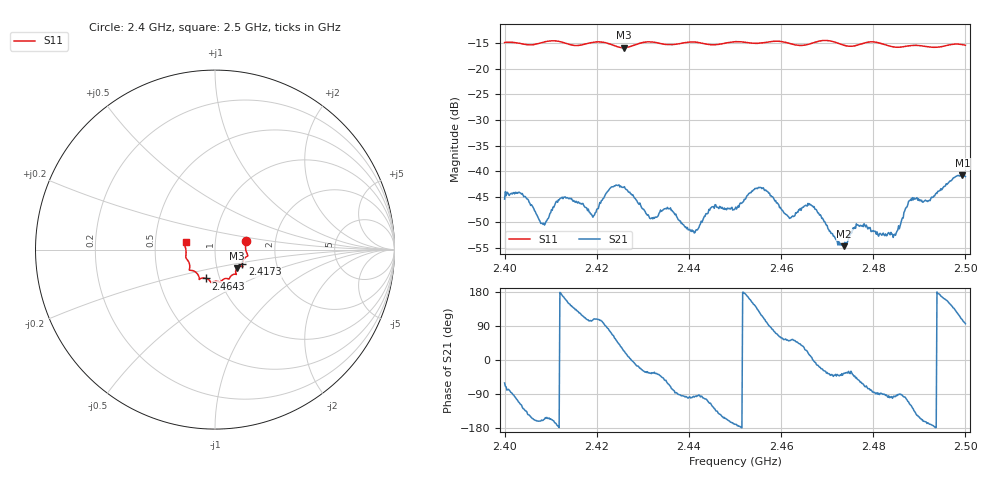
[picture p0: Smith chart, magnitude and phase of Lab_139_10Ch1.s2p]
# Hz S RI R 50
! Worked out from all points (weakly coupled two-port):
!   601 points, 2.4 GHz to 2.5 GHz, reference 50 ohm
!   highest |S21| = -40.77 dB at 2.4993 GHz (marker M1); lowest = -54.6 dB at 2.4737 GHz (marker M2)
!   lowest |S11| = -15.9 dB at 2.4258 GHz (marker M3), VSWR 1.38, Z = 62.3 - j13.2 ohm
!   |S11| at or under -10 dB: start of sweep to end of sweep
!   S12 and S22 are empty: the file has one direction only
!   S11 on the Smith chart (normalised r, x): 2.4 GHz: 1.41, +0.14; 2.4173 GHz: 1.34, -0.23; 2.4643 GHz: 0.86, -0.28; 2.5 GHz: 0.72, +0.06
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2.4e9  0.1728 0.0497  0.00262 -0.00466  0 0  0 0
2.4035e9  0.1729 0.0305  -0.00282 -0.00542  0 0  0 0
2.408333e9  0.1795 -0.0233  -0.00284 -0.00107  0 0  0 0
2.412167e9  0.1791 -0.0375  -0.00545 0.000307  0 0  0 0
2.416667e9  0.1529 -0.0745  -0.00231 0.00418  0 0  0 0
2.417333e9  0.1522 -0.0818  -0.00167 0.00419  0 0  0 0
2.419333e9  0.1536 -0.0959  -0.00113 0.0035  0 0  0 0
2.425833e9  0.1218 -0.1035  0.00633 0.00285  0 0  0 0
2.433333e9  0.1131 -0.137  0.00289 -0.00227  0 0  0 0
2.441e9  0.0778 -0.1646  -0.000267 -0.0026  0 0  0 0
2.445333e9  0.0533 -0.1623  -0.00259 -0.0037  0 0  0 0
2.45e9  0.0293 -0.1809  -0.00423 -0.000752  0 0  0 0
2.455667e9  -0.00384 -0.1775  -0.0033 0.00606  0 0  0 0
2.461667e9  -0.0281 -0.1747  0.00228 0.00275  0 0  0 0
2.464333e9  -0.05 -0.1607  0.00321 0.00263  0 0  0 0
2.466667e9  -0.0759 -0.1597  0.00458 0.000535  0 0  0 0
2.473667e9  -0.0951 -0.1398  0.00152 -0.00106  0 0  0 0
2.476833e9  -0.125 -0.1168  0.00178 -0.00235  0 0  0 0
2.483333e9  -0.1407 -0.0899  -0.000194 -0.00251  0 0  0 0
2.488167e9  -0.1603 -0.0498  -0.00263 -0.00465  0 0  0 0
2.499333e9  -0.167 0.0385  -0.00256 0.00879  0 0  0 0
2.5e9  -0.1636 0.0426  -0.000888 0.00882  0 0  0 0
